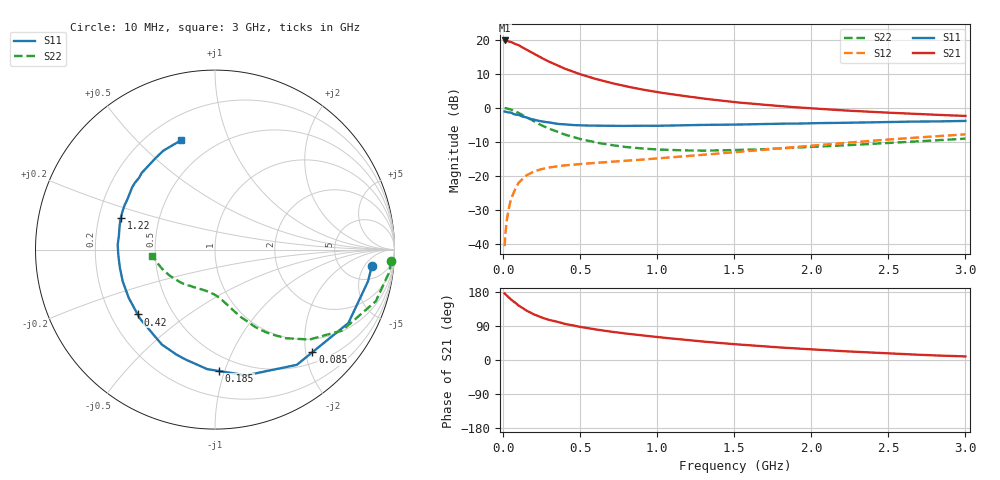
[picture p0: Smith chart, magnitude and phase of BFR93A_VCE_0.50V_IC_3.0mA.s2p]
! Infineon Technologies  Discrete & RF Semiconductors
! BFR93A
! VCE = 0.50 V,  IC =  3.0 mA
! Common Emitter S-Parameters:  Nov 2015
# GHz  S  MA  R  50
!  f  S11  S21  S12  S22
! GHz  MAG  ANG  MAG  ANG  MAG  ANG  MAG  ANG
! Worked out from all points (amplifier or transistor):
!   180 points, 10 MHz to 3 GHz, reference 50 ohm
!   highest |S21| = 19.7 dB at 10 MHz (marker M1)
!   |S21| within 3 dB of that: start of sweep to 164.4 MHz
!   unconditionally stable (mu >= 1): 801 MHz to end of sweep
!   at 160 MHz: K = 0.26, MSG = 18.3 dB, |S12| = -19.7 dB
!   at 1.22 GHz: K = 1.19, MAG = 6.0 dB, |S12| = -14.2 dB
!   at 3 GHz: K = 1.08, MAG = 1.0 dB, |S12| = -7.9 dB
!   S11 on the Smith chart (normalised r, x): 10 MHz: 9, -8; 85 MHz: 0.71, -2.13; 185 MHz: 0.38, -0.96; 420 MHz: 0.31, -0.33; 1.22 GHz: 0.29, +0.15; 3 GHz: 0.33, +0.68
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0.01  0.8784 -6.0  9.713 175.8  0.0092 87.4  0.9848 -3.7
0.02  0.8706 -11.7  9.669 171.7  0.0183 82.8  0.9792 -7.3
0.025  0.8616 -14.5  9.577 169.8  0.0225 80.0  0.9706 -9.0
0.05  0.8483 -28.8  9.274 160.1  0.0437 74.0  0.941 -17.8
0.085  0.7881 -46.5  8.517 149.1  0.0674 63.4  0.8638 -27.7
0.1  0.7874 -54.6  8.3 143.9  0.078 60.9  0.8396 -32.5
0.15  0.7218 -76.1  7.178 130.5  0.1004 51.2  0.7265 -43.6
0.185  0.6767 -88.1  6.471 123.7  0.1106 46.6  0.6573 -49.0
0.2  0.6673 -93.7  6.201 120.3  0.1152 44.9  0.6297 -51.6
0.24  0.6342 -104.9  5.533 113.9  0.1229 41.1  0.5651 -56.4
0.3  0.6061 -119.3  4.724 105.6  0.1321 37.3  0.4902 -62.2
0.4  0.5681 -137.4  3.742 95.3  0.1416 33.9  0.4017 -69.1
0.42  0.5623 -140.0  3.608 93.9  0.1429 33.6  0.3903 -70.0
0.52  0.548 -152.7  3.004 86.1  0.1495 32.4  0.3381 -74.8
0.7  0.5395 -169.1  2.306 74.7  0.1601 32.7  0.282 -82.4
0.88  0.5417 178.5  1.889 66.0  0.1707 34.1  0.2531 -89.7
1.02  0.5418 170.8  1.665 59.7  0.1804 35.5  0.2418 -95.1
1.22  0.5538 161.3  1.438 51.7  0.1959 37.3  0.2344 -103.9
1.52  0.5639 149.4  1.194 41.2  0.2228 39.3  0.2386 -116.8
2.02  0.5915 133.0  0.971 27.7  0.278 40.1  0.2656 -137.0
2.52  0.6156 119.7  0.839 17.1  0.3421 37.3  0.3041 -156.2
3  0.6377 107.3  0.756 9.4  0.405 32.2  0.3504 -174.6
